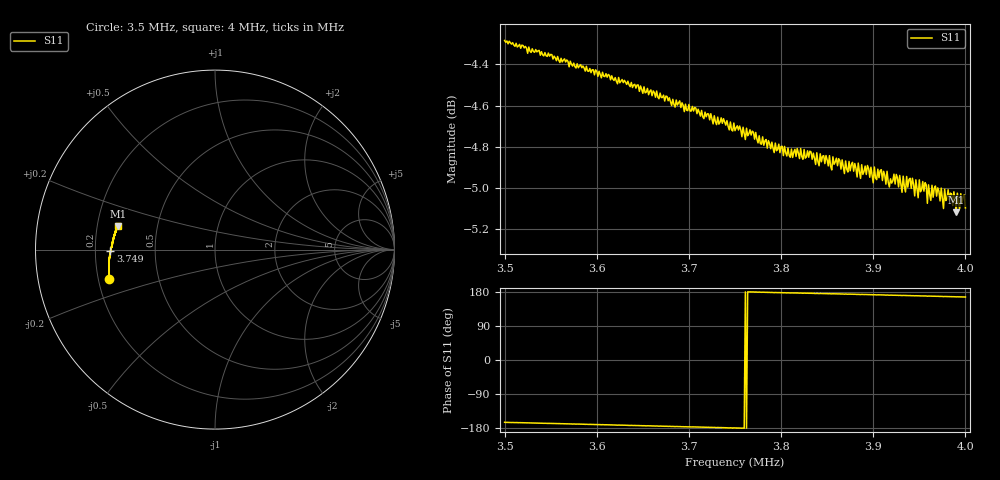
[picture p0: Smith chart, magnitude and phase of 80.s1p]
# Hz S RI R 50
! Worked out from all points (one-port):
!   401 points, 3.5 MHz to 4 MHz, reference 50 ohm
!   lowest |S11| = -5.1 dB at 3.99 MHz (marker M1), VSWR 3.49, Z = 14.5 + j5.41 ohm
!   |S11| at or under -10 dB: nowhere
!   S11 on the Smith chart (normalised r, x): 3.5 MHz: 0.25, -0.13; 3.749 MHz: 0.26, -0.01; 4 MHz: 0.29, +0.11
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3500000  -0.5881 -0.1645
3562500  -0.5906 -0.1236
3625000  -0.5905 -0.0835
3687500  -0.5874 -0.0442
3748750  -0.583 -0.00867
3750000  -0.5806 -0.00623
3767500  -0.5792 0.00378
3790000  -0.5766 0.0169
3812500  -0.5712 0.0306
3830000  -0.5707 0.0392
3838750  -0.5719 0.0421
3847500  -0.5679 0.0489
3852500  -0.5704 0.0495
3861250  -0.5666 0.0558
3870000  -0.5678 0.0589
3875000  -0.5643 0.0627
3883750  -0.5663 0.0667
3892500  -0.5619 0.0726
3901250  -0.5638 0.0764
3910000  -0.5586 0.0823
3918750  -0.5586 0.0862
3923750  -0.5564 0.0896
3932500  -0.5581 0.094
3937500  -0.5541 0.0974
3946250  -0.5556 0.1018
3955000  -0.551 0.1072
3990000  -0.5394 0.1291
4000000  -0.54 0.1328
